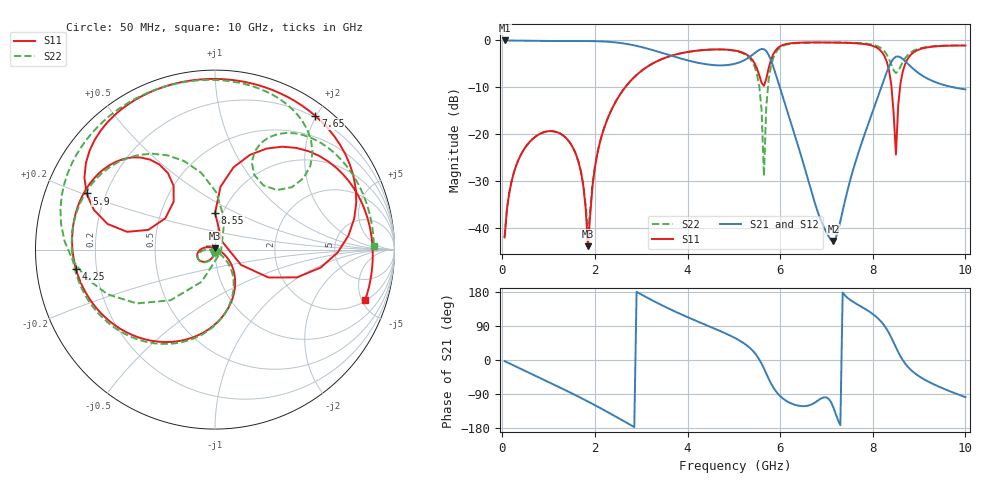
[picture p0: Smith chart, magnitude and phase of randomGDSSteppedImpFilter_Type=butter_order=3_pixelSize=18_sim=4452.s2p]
! freq	dB(S11)	phase(S11)	dB(S12)	phase(S12)
!  dB(S21)	phase(S21)	dB(S22)	phase(S22)
!S-par simulation data
#  GHz  S  DB  R 50
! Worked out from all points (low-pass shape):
!   200 points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, 50 MHz to 10 GHz, reference 50 ohm
!   highest |S21| = 0.00 dB at 50 MHz (marker M1); lowest = -42.9 dB at 7.15 GHz (marker M2)
!   |S21| within 3 dB of the highest: start of sweep to 3.563 GHz; 5.412 GHz to 5.747 GHz (334.8 MHz wide, 6 % of centre)
!   lowest |S11| = -44.0 dB at 1.85 GHz (marker M3), VSWR 1.01, Z = 50.1 + j0.63 ohm
!   |S11| at or under -10 dB: start of sweep to 2.656 GHz; 8.404 GHz to 8.59 GHz (185.8 MHz wide, 2.19 % of centre)
!   |S22| runs from -42.1 to -0.4 dB; largest |S21 - S12| = 0
!   S11 on the Smith chart (normalised r, x): 50 MHz: 1.00, -0.02; 4.25 GHz: 0.12, -0.07; 5.9 GHz: 0.13, +0.21; 7.65 GHz: 0.18, +1.99; 8.55 GHz: 0.92, +0.39; 10 GHz: 2.08, -5.32
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0.05  -42.09 -92.4  -0.00 -3.0  -0.00 -3.0  -42.06 -92.3
0.25  -28.25 -105.0  -0.03 -14.7  -0.03 -14.7  -28.25 -104.2
0.75  -20.33 -135.5  -0.10 -43.7  -0.10 -43.7  -20.33 -132.9
1.75  -31.10 153.3  -0.13 -103.2  -0.13 -103.2  -30.95 -176.4
1.85  -43.98 84.4  -0.13 -109.6  -0.13 -109.6  -40.89 -119.1
2  -27.12 -22.6  -0.16 -119.2  -0.16 -119.2  -26.96 -41.7
2.25  -17.32 -44.8  -0.26 -135.8  -0.26 -135.8  -17.28 -50.2
3.4  -4.18 -124.7  -2.51 147.3  -2.51 147.3  -4.17 -122.3
4.25  -2.14 -172.0  -4.83 100.0  -4.83 100.0  -2.14 -168.1
5.05  -2.21 147.2  -4.91 56.4  -4.91 56.4  -2.27 148.9
5.5  -6.00 121.6  -2.33 10.5  -2.33 10.5  -7.22 100.2
5.65  -9.70 147.9  -1.88 -22.3  -1.88 -22.3  -28.99 -21.0
5.75  -6.02 168.6  -3.05 -48.9  -3.05 -48.9  -8.52 -131.2
5.9  -2.15 156.4  -7.06 -81.2  -7.06 -81.2  -2.67 -167.5
6.7  -0.43 102.1  -33.08 -116.0  -33.08 -116.0  -0.45 126.3
7.15  -0.46 79.9  -42.88 -125.5  -42.88 -125.5  -0.44 105.4
7.65  -0.62 53.1  -25.23 148.0  -25.23 148.0  -0.54 82.2
8.35  -6.34 -18.7  -5.60 71.1  -5.60 71.1  -3.95 38.9
8.5  -24.39 50.7  -3.48 33.3  -3.48 33.3  -6.98 53.0
8.55  -13.76 89.8  -3.42 20.8  -3.42 20.8  -6.56 62.1
8.85  -2.79 51.4  -5.87 -29.1  -5.87 -29.1  -2.37 58.6
10  -1.08 -18.6  -10.46 -98.1  -10.46 -98.1  -1.06 1.4
